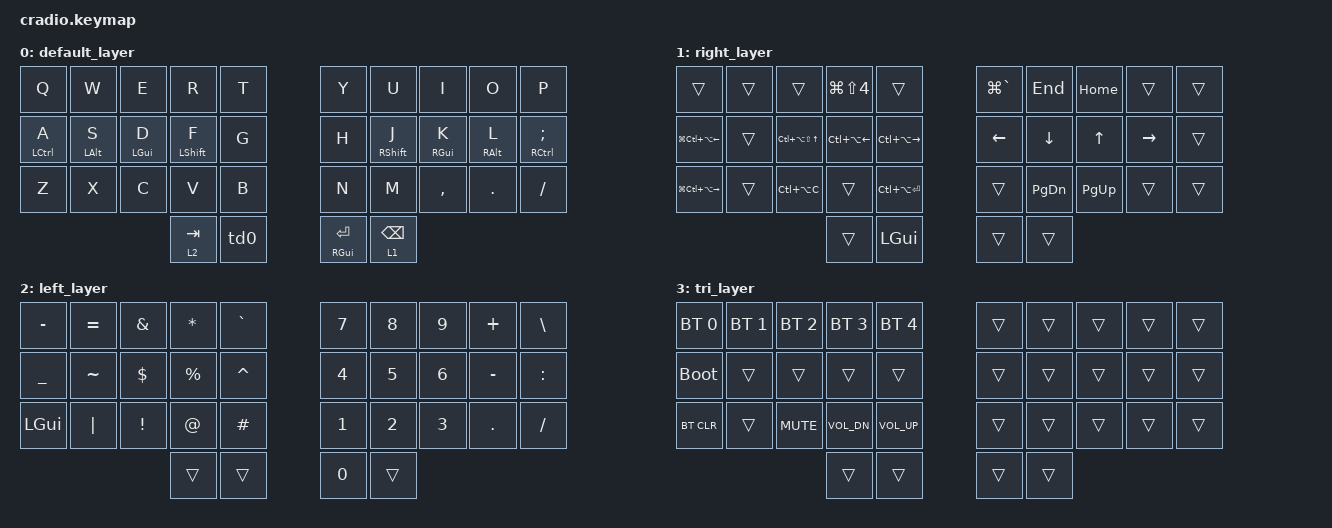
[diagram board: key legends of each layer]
// Copyright (c) 2022 The ZMK Contributors
// SPDX-License-Identifier: MIT
/*                              34 KEY MATRIX / LAYOUT MAPPING

    ╭────────────────────┬────────────────────╮ ╭─────────────────────┬─────────────────────╮
    │  0   1   2   3   4 │  5   6   7   8   9 │ │ LT4 LT3 LT2 LT1 LT0 │ RT0 RT1 RT2 RT3 RT4 │
    │ 10  11  12  13  14 │ 15  16  17  18  19 │ │ LM4 LM3 LM2 LM1 LM0 │ RM0 RM1 RM2 RM3 RM4 │
    │ 20  21  22  23  24 │ 25  26  27  28  29 │ │ LB4 LB3 LB2 LB1 LB0 │ RB0 RB1 RB2 RB3 RB4 │
    ╰───────────╮ 30  31 │ 32  33 ╭───────────╯ ╰───────────╮ LH1 LH0 │ RH0 RH1 ╭───────────╯
                ╰────────┴────────╯                         ╰─────────┴─────────╯             */

#include <behaviors.dtsi>
#include <dt-bindings/zmk/bt.h>
#include <dt-bindings/zmk/keys.h>

//#include <dt-bindings/zmk/mouse.h>
// Home row mods macro (CAGS for MacOS)

#define HRML(k1,k2,k3,k4) &thm LCTRL k1  &thm LALT k2  &thm LGUI k3  &thm LSHFT k4
#define HRMR(k1,k2,k3,k4) &thm RSHFT k1  &thm RGUI k2  &thm RALT k3  &thm RCTRL k4

/ {
    behaviors {
        // timerless homerow mods

        thm: timerless_homerow_mods {
            label = "timeless_homerow_mods";
            compatible = "zmk,behavior-hold-tap";
            #binding-cells = <2>;
            flavor = "balanced";
            tapping-term-ms = <200>;
            quick-tap-ms = <200>; // repeat on tap-into-hold
            require-prior-idle-ms = <120>;
            bindings = <&kp>, <&kp>;

            hold-trigger-on-release; // delay positional check until key-release
        };

        // layer-tap for thumb keys

        mlt: my_layer_tap {
            label = "my_layer_tap";
            compatible = "zmk,behavior-hold-tap";
            #binding-cells = <2>;
            flavor = "balanced";
            tapping-term-ms = <200>;
            quick-tap-ms = <200>; // repeat on tap-into-hold
            require-prior-idle-ms = <120>;
            bindings = <&mo>, <&kp>;

            hold-trigger-on-release; // delay positional check until key-release
        };

        td0: td0 {
            compatible = "zmk,behavior-tap-dance";
            label = "TD0";
            #binding-cells = <0>;
            bindings = <&kp SPACE>, <&kp ESC>;
        };
    };

    conditional_layers {
        compatible = "zmk,conditional-layers";

        tri_layer {
            if-layers = <1 2>;
            then-layer = <3>;
        };
    };

    combos {
        compatible = "zmk,combos";

        // ESC

        combo_esc {
            timeout-ms = <50>;
            key-positions = <0 1>;
            bindings = <&kp ESC>;
            layers = <0>;
        };

        // [

        combo_lbkt {
            timeout-ms = <50>;
            key-positions = <23 24>;
            bindings = <&kp LBKT>;
            layers = <0>;
        };

        // ]

        combo_rbkt {
            timeout-ms = <50>;
            key-positions = <25 26>;
            bindings = <&kp RBKT>;
            layers = <0>;
        };

        // {

        combo_lbrc {
            timeout-ms = <50>;
            key-positions = <13 14>;
            bindings = <&kp LBRC>;
            layers = <0>;
        };

        // }

        combo_rbrc {
            timeout-ms = <50>;
            key-positions = <15 16>;
            bindings = <&kp RBRC>;
            layers = <0>;
        };

        // (

        combo_lpar {
            timeout-ms = <50>;
            key-positions = <3 4>;
            bindings = <&kp LPAR>;
            layers = <0>;
        };

        // )

        combo_rpar {
            timeout-ms = <50>;
            key-positions = <5 6>;
            bindings = <&kp RPAR>;
            layers = <0>;
        };

        // `

        combo_pipe {
            bindings = <&kp PIPE>;
            key-positions = <20 21>;
            timeout-ms = <50>;
            layers = <0>;
        };

        // -
        // _
        // =
        // +
        // ~

        combo_bslh {
            bindings = <&kp BACKSLASH>;
            key-positions = <28 29>;
            timeout-ms = <50>;
            layers = <0>;
        };

        // C-SPC
        // C-S-TAB

        combo_tab_prev {
            bindings = <&kp LC(LS(TAB))>;
            key-positions = <11 12>;
            timeout-ms = <50>;
            layers = <0>;
        };

        // C-TAB

        combo_tab_next {
            bindings = <&kp LC(TAB)>;
            key-positions = <12 13>;
            timeout-ms = <50>;
            layers = <0>;
        };

        // C-LEFT
        // C-RIGHT
        // - [ ]

        combo_todo {
            bindings = <&todo>;
            key-positions = <14 15>;
            layers = <0>;
            timeout-ms = <50>;
        };

        combo_grave {
            bindings = <&kp GRAVE>;
            key-positions = <10 11>;
        };

        combo_tilde {
            bindings = <&kp TILDE>;
            key-positions = <19 18>;
        };
    };

    macros {
        todo: todo {
            compatible = "zmk,behavior-macro";
            label = "TODO";
            #binding-cells = <0>;
            wait-ms = <0>;
            tap-ms = <0>;
            bindings = <&kp MINUS &kp SPACE &kp LBKT &kp SPACE &kp RBKT &kp SPACE>;
        };
    };

    keymap {
        compatible = "zmk,keymap";

        default_layer {
            bindings = <
&kp Q         &kp W        &kp E        &kp R         &kp T    &kp Y              &kp U         &kp I        &kp O        &kp P
&thm LCTRL A  &thm LALT S  &thm LGUI D  &thm LSHFT F  &kp G    &kp H              &thm RSHFT J  &thm RGUI K  &thm RALT L  &thm RCTRL SEMI
&kp Z         &kp X        &kp C        &kp V         &kp B    &kp N              &kp M         &kp COMMA    &kp DOT      &kp FSLH
                                        &mlt 2 TAB    &td0     &mt RIGHT_GUI RET  &mlt 1 BSPC
            >;
        };

        // use combos for [] {}

        right_layer {
            bindings = <
&trans                 &trans  &trans              &kp LG(LS(NUMBER_4))  &trans               &kp LG(GRAVE)  &kp END        &kp HOME     &trans     &trans
&kp LG(LC(LA(LEFT)))   &trans  &kp LC(LA(LS(UP)))  &kp LC(LA(LEFT))      &kp LC(LA(RIGHT))    &kp LEFT       &kp DOWN       &kp UP       &kp RIGHT  &trans
&kp LG(LC(LA(RIGHT)))  &trans  &kp LC(LA(C))       &trans                &kp LC(LA(RET))      &trans         &kp PAGE_DOWN  &kp PAGE_UP  &trans     &trans
                                                   &trans                &kp LEFT_GUI         &trans         &trans
            >;
        };

        left_layer {
            bindings = <
&kp MINUS       &kp EQUAL  &kp AMPS    &kp ASTERISK  &kp GRAVE    &kp NUMBER_7  &kp NUMBER_8  &kp NUMBER_9  &kp PLUS    &kp BACKSLASH
&kp UNDERSCORE  &kp TILDE  &kp DOLLAR  &kp PERCENT   &kp CARET    &kp NUMBER_4  &kp NUMBER_5  &kp NUMBER_6  &kp MINUS   &kp COLON
&kp LEFT_GUI    &kp PIPE   &kp EXCL    &kp AT        &kp HASH     &kp NUMBER_1  &kp NUMBER_2  &kp NUMBER_3  &kp PERIOD  &kp SLASH
                                       &trans        &trans       &kp NUMBER_0  &trans
            >;
        };

        tri_layer {
            bindings = <
&bt BT_SEL 0  &bt BT_SEL 1  &bt BT_SEL 2  &bt BT_SEL 3  &bt BT_SEL 4    &trans  &trans  &trans  &trans  &trans
&bootloader   &trans        &trans        &trans        &trans          &trans  &trans  &trans  &trans  &trans
&bt BT_CLR    &trans        &kp K_MUTE    &kp C_VOL_DN  &kp C_VOL_UP    &trans  &trans  &trans  &trans  &trans
                                          &trans        &trans          &trans  &trans
            >;
        };
    };
};
